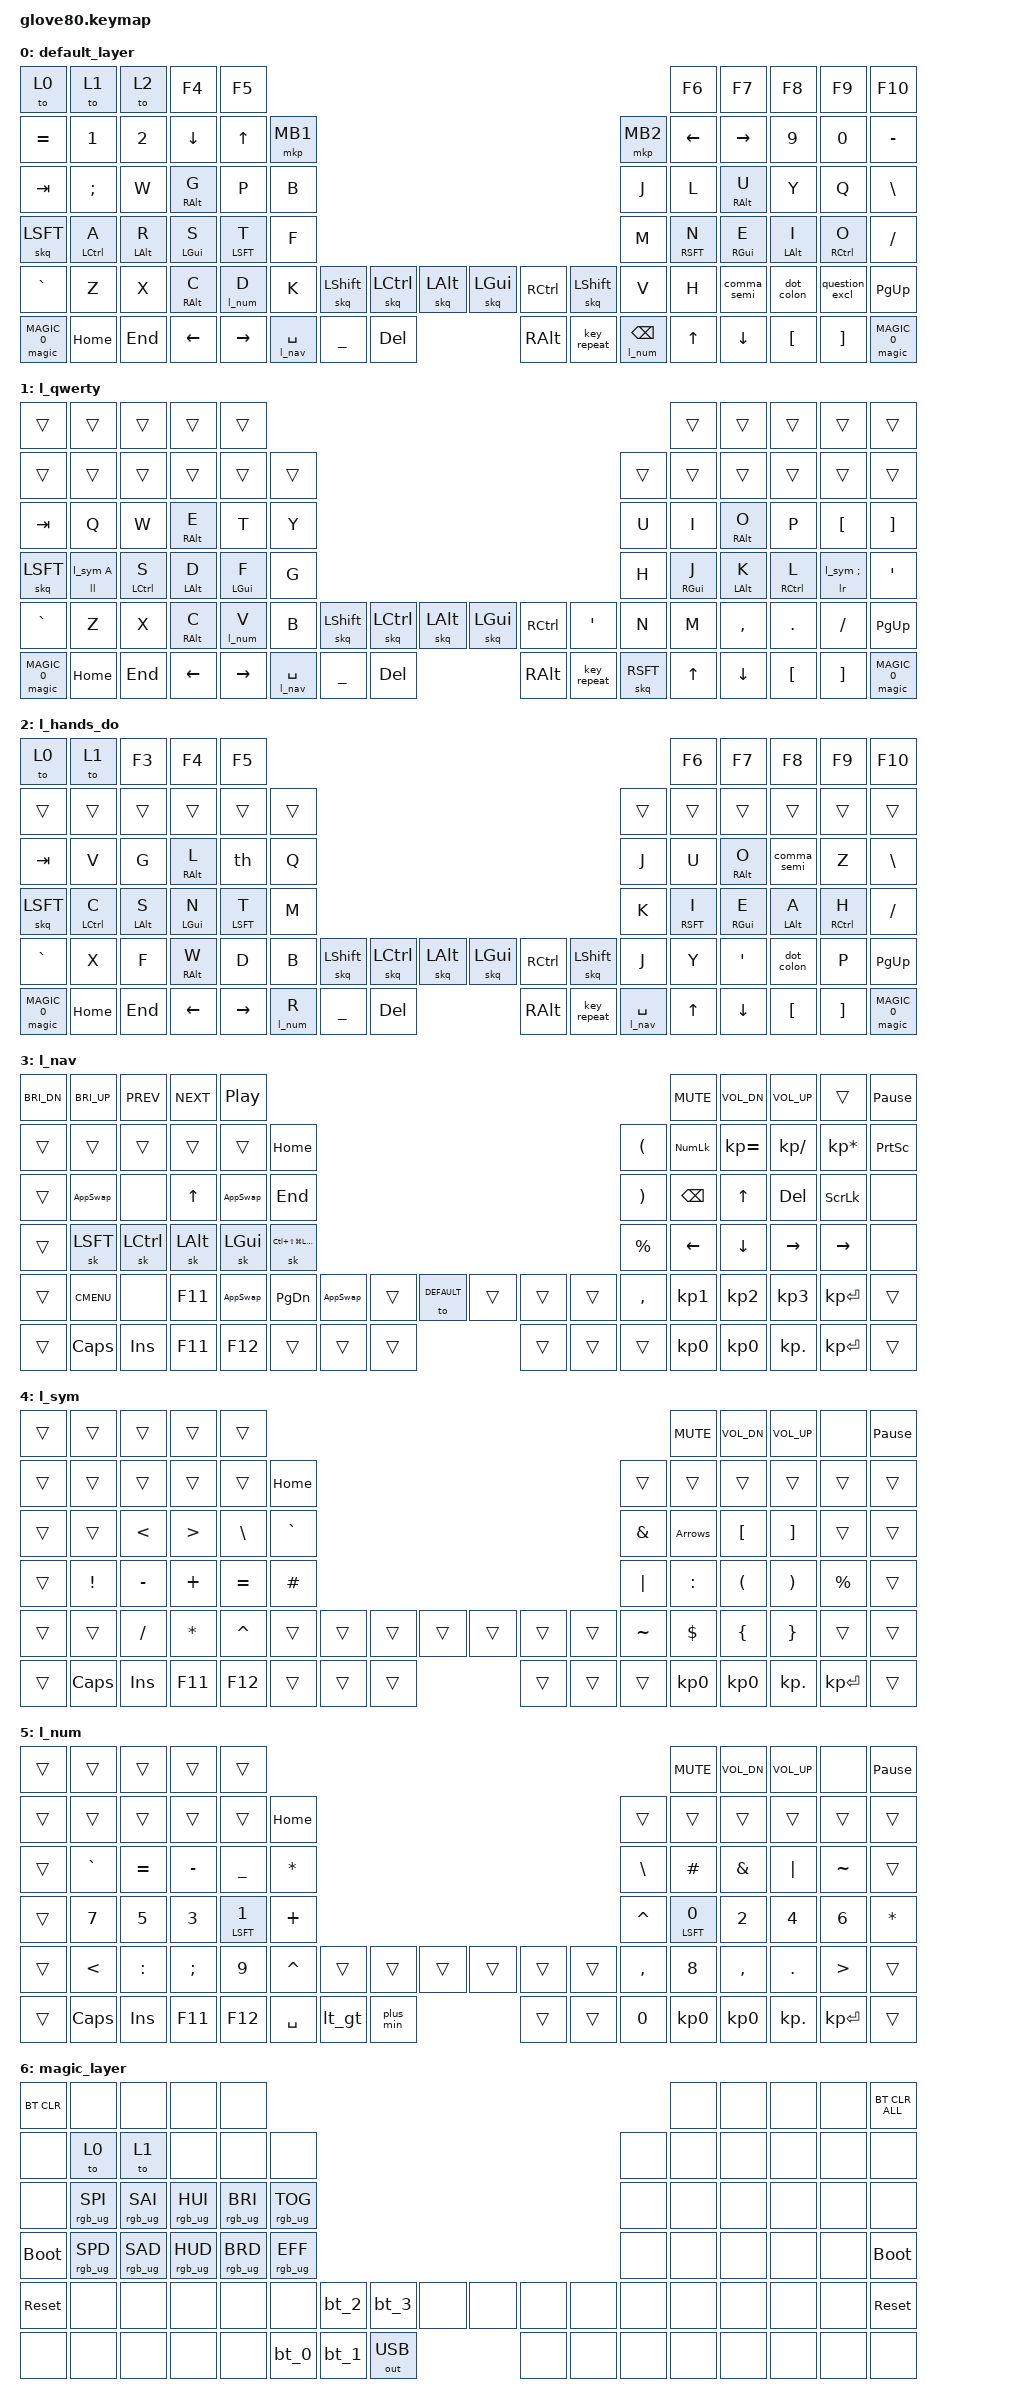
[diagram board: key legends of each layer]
/*
 * Copyright (c) 2020 The ZMK Contributors
 *
 * SPDX-License-Identifier: MIT
 */

#include <behaviors.dtsi>
#include <dt-bindings/zmk/keys.h>
#include <dt-bindings/zmk/bt.h>
#include <dt-bindings/zmk/ext_power.h>
#include <dt-bindings/zmk/outputs.h>
#include <dt-bindings/zmk/rgb.h>
#include <dt-bindings/zmk/mouse.h>

#include "../zmk-nodefree-config/helper.h"
#include "../zmk-nodefree-config/international_chars/german.dtsi"
#include "../zmk-nodefree-config/international_chars/greek.dtsi"
#include "../zmk-nodefree-config/keypos_def/keypos_glv80.h"

#define my_tapping_term 380
#define my_quick_tapping_term 112
#define my_ak_delay 40

#define HYPER LC(LS(LG(LALT)))
#define MEH LS(LC(LALT))

#define NAV_SPCAE &lt l_nav SPACE

// layers
#define DEFAULT    0
#define l_qwerty   1
#define l_hands_do 2
#define l_nav      3
#define l_sym      4
#define l_num      5
#define MAGIC      6


#include "zmk-helpers/helper.h"
#include "zmk-helpers/unicode-chars/greek.dtsi"
#include "zmk-helpers/unicode-chars/german.dtsi"

#include "zmk-helpers/key-labels/glove80.h"


&sl {  // sticky-layer config
    ignore-modifiers;          // allow chording sticky mods & layers
};

#define SHIFT_MORPH(NAME, LOWER, UPPER) \
    ZMK_BEHAVIOR(NAME, mod_morph, \
        bindings = <LOWER>, <UPPER>; \
        mods = <(MOD_LSFT|MOD_RSFT)>; \
    )

SHIFT_MORPH(comma_semi, &kp COMMA, &kp SEMI)
SHIFT_MORPH(dot_colon, &kp DOT, &kp COLON)
SHIFT_MORPH(question_excl, &kp QUESTION, &kp EXCL)


// I will never like this dsl! Why do I have to pass arguments where no arguments are used!?
#define Arrows arrows 0 0


// les thumbs!
#define NUM_DEL &lt l_num BACKSPACE
#define OSLFT &skq LSHFT

/ {

    #include "fride_macros.dtsi"
    #include "fride_behaviors.dtsi"
    #include "fride_combos.dtsi"

    keymap {
        compatible = "zmk,keymap";
        default_layer {
            bindings = <
                &to 0          &to 1        &to 2        &kp F4       &kp F5                                                                                                   &kp F6  &kp F7      &kp F8      &kp F9      &kp F10
                &kp EQUAL      &kp N1       &kp N2       &kp DOWN     &kp UP        &mkp MB1                                                                         &mkp MB2    &kp LEFT     &kp RIGHT     &kp N9      &kp N0      &kp MINUS
                &kp TAB        &kp SCLN     &kp W        &hml RALT G  &kp P         &kp B                                                                           &kp J      &kp L        &hmr RALT U   &kp Y       &kp Q       &kp BSLH
                &skq LSFT      &hml LCTL A  &hml LALT R  &hml LGUI S  &hml LSFT T   &kp F                                                                           &kp M      &hmr RSFT N  &hmr RGUI E   &hmr LALT I &hmr RCTL O &kp SLASH
                &kp GRAVE      &kp Z        &kp X        &hml RALT C  &lt l_num D   &kp K       OSLFT       &skq LCTRL  &skq LALT  &skq LGUI  &kp RCTRL   OSLFT     &kp V      &kp H        &comma_semi   &dot_colon  &question_excl   &kp PG_UP
                &magic MAGIC 0 &kp HOME     &kp END      &kp LEFT     &kp RIGHT                 NAV_SPCAE   &kp UNDER   &kp DEL    &kp  RALT  &key_repeat NUM_DEL              &kp UP       &kp DOWN      &kp LBKT    &kp RBKT    &magic MAGIC 0
            >;
        };
        l_qwerty {
            bindings = <
                &trans         &trans       &trans       &trans       &trans                                                                                                   &trans       &trans        &trans           &trans      &trans
                &trans         &trans       &trans       &trans       &trans        &trans                                                                          &trans     &trans       &trans        &trans           &trans      &trans
                &kp TAB        &kp Q        &kp W        &hml RALT E  &kp T         &kp Y                                                                           &kp U      &kp I        &hmr RALT O   &kp P       &kp LBKT       &kp RBKT
                &skq LSFT      &ll l_sym A  &hml LCTL S  &hml LALT D  &hml LGUI F   &kp G                                                                           &kp H      &hmr RGUI J  &hmr LALT K   &hmr RCTL L &lr l_sym SCLN &kp SQT
                &kp GRAVE      &kp Z        &kp X        &hml RALT C  &lt l_num V   &kp B       &skq LSHFT  &skq LCTRL  &skq LALT  &skq LGUI  &kp RCTRL &kp SQT     &kp N      &kp M        &kp COMMA     &kp DOT     &kp SLASH      &kp PG_UP
                &magic MAGIC 0 &kp HOME     &kp END      &kp LEFT     &kp RIGHT                 NAV_SPCAE   &kp UNDER   &kp DEL    &kp  RALT  &key_repeat &skq RSFT            &kp UP       &kp DOWN      &kp LBKT    &kp RBKT       &magic MAGIC 0
            >;
        };
        l_hands_do {
            bindings = <
                &to 0          &to 1        &kp F3       &kp F4       &kp F5                                                                                                   &kp F6  &kp F7      &kp F8      &kp F9      &kp F10
                &trans         &trans       &trans       &trans       &trans        &trans                                                                          &trans     &trans       &trans        &trans           &trans      &trans
                &kp TAB        &kp V        &kp G        &hml RALT L  &th           &kp Q                                                                           &kp J      &kp U        &hmr RALT O   &comma_semi      &kp Z       &kp BSLH
                &skq LSFT      &hml LCTL C  &hml LALT S  &hml LGUI N  &hml LSFT T   &kp M                                                                           &kp K      &hmr RSFT I  &hmr RGUI E   &hmr LALT A      &hmr RCTL H &kp SLASH
                &kp GRAVE      &kp X        &kp F        &hml RALT W  &kp D         &kp B       OSLFT       &skq LCTRL  &skq LALT  &skq LGUI  &kp RCTRL   OSLFT     &kp J      &kp Y        &kp SQT       &dot_colon       &kp P       &kp PG_UP
                &magic MAGIC 0 &kp HOME     &kp END      &kp LEFT     &kp RIGHT                 &lt l_num R  &kp UNDER   &kp DEL    &kp  RALT  &key_repeat NAV_SPCAE              &kp UP       &kp DOWN      &kp LBKT         &kp RBKT    &magic MAGIC 0
            >;
        };

        l_nav {
            bindings = <
                &kp C_BRI_DN      &kp C_BRI_UP        &kp C_PREV      &kp C_NEXT      &kp C_PP                                                                                                           &kp C_MUTE   &kp C_VOL_DN &kp C_VOL_UP  &trans          &kp PAUSE_BREAK
                &trans            &trans              &trans          &trans          &trans          &kp HOME                                                                              &kp LPAR     &kp KP_NUM   &kp KP_EQUAL &kp KP_DIVIDE &kp KP_MULTIPLY &kp PSCRN
                &trans            &AppSwap            &none           &kp UP          &AppSwap        &kp END                                                                               &kp RPAR     &kp BSPC     &kp UP        &kp DEL      &kp SLCK        &none
                &trans            &sk LSFT            &sk LCTRL       &sk LALT        &sk LGUI        &sk HYPER                                                                             &kp PRCNT    &kp LEFT     &kp DOWN     &kp RIGHT     &kp RIGHT       &none
                &trans            &kp K_CMENU         &none           &kp F11         &AppSwap        &kp PG_DN       &AppSwap      &trans      &to DEFAULT &trans      &trans      &trans    &kp COMMA    &kp KP_N1    &kp KP_N2    &kp KP_N3     &kp KP_ENTER    &trans
                &trans            &kp CAPS            &kp INS         &kp F11         &kp F12                         &trans      &trans      &trans      &trans      &trans      &trans                 &kp KP_N0    &kp KP_N0    &kp KP_DOT    &kp KP_ENTER    &trans
            >;
        };

        l_sym {
            bindings = <
                &trans            &trans              &trans          &trans          &trans                                                                                                           &kp C_MUTE   &kp C_VOL_DN &kp C_VOL_UP  &none           &kp PAUSE_BREAK
                &trans            &trans              &trans          &trans          &trans          &kp HOME                                                                              &trans       &trans       &trans       &trans        &trans          &trans
                &trans            &trans              &kp LT          &kp GT          &kp BSLH        &kp GRAVE                                                                             &kp AMPS     &Arrows     &kp LBKT     &kp RBKT      &trans          &trans
                &trans            &kp EXCL            &kp MINUS       &kp PLUS        &kp EQUAL       &kp HASH                                                                              &kp PIPE     &kp COLON    &kp LPAR     &kp RPAR      &kp PERCENT     &trans
                &trans            &trans              &kp SLASH       &kp STAR        &kp CARET       &trans          &trans      &trans      &trans      &trans      &trans      &trans    &kp TILDE    &kp DLLR     &kp LBRC     &kp RBRC      &trans          &trans
                &trans            &kp CAPS            &kp INS         &kp F11         &kp F12                         &trans      &trans      &trans      &trans      &trans      &trans                 &kp KP_N0    &kp KP_N0    &kp KP_DOT    &kp KP_ENTER    &trans
            >;
        };

        l_num {
            bindings = <
                &trans            &trans              &trans          &trans          &trans                                                                                                           &kp C_MUTE   &kp C_VOL_DN &kp C_VOL_UP  &none           &kp PAUSE_BREAK
                &trans            &trans              &trans          &trans          &trans          &kp HOME                                                                              &trans       &trans         &trans       &trans        &trans          &trans
                &trans            &kp GRAVE           &kp EQUAL       &kp MINUS       &kp UNDER       &kp STAR                                                                              &kp BSLH     &kp HASH       &kp AMPS     &kp PIPE      &kp TILDE       &trans
                &trans            &kp N7             &kp N5          &kp N3          &hml LSFT N1    &kp PLUS                                                                              &kp CARET    &hmr LSFT N0   &kp N2       &kp N4        &kp N6          &kp STAR
                &trans            &kp LT              &kp COLON       &kp SEMI        &kp N9          &kp CARET       &trans      &trans      &trans      &trans      &trans      &trans    &kp COMMA    &kp N8         &kp COMMA    &kp DOT       &kp GT          &trans
                &trans            &kp CAPS            &kp INS         &kp F11         &kp F12                         &kp SPACE   &lt_gt      &plus_min   &trans      &trans      &kp N0                 &kp KP_N0      &kp KP_N0    &kp KP_DOT    &kp KP_ENTER    &trans
            >;
        };
        magic_layer {
            bindings = <
                &bt BT_CLR        &none               &none           &none           &none                                                                                                           &none      &none      &none      &none      &bt BT_CLR_ALL
                &none             &to 0               &to 1           &none           &none           &none                                                                                &none      &none      &none      &none      &none      &none
                &none             &rgb_ug RGB_SPI     &rgb_ug RGB_SAI &rgb_ug RGB_HUI &rgb_ug RGB_BRI &rgb_ug RGB_TOG                                                                      &none      &none      &none      &none      &none      &none
                &bootloader       &rgb_ug RGB_SPD     &rgb_ug RGB_SAD &rgb_ug RGB_HUD &rgb_ug RGB_BRD &rgb_ug RGB_EFF                                                                      &none      &none      &none      &none      &none      &bootloader
                &sys_reset        &none               &none           &none           &none           &none           &bt_2     &bt_3     &none            &none     &none     &none       &none      &none      &none      &none      &none      &sys_reset
                &none             &none               &none           &none           &none                           &bt_0     &bt_1     &out OUT_USB     &none     &none     &none                  &none      &none      &none      &none      &none
            >;
        };
    };
};
